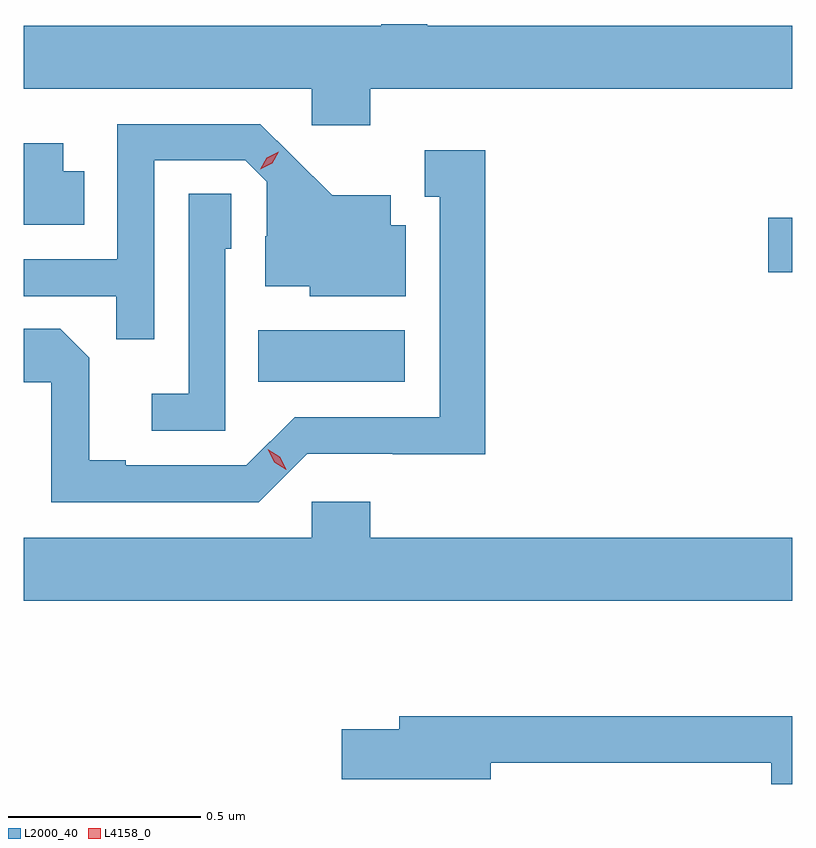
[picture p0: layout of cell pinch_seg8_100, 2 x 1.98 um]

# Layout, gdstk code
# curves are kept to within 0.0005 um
import gdstk
lib = gdstk.Library(unit=1e-6, precision=1e-09)
def R(c, l, rs):  # rectangles x0, y0, x1, y1
    for r in rs: c.add(gdstk.rectangle(r[:2], r[2:], *l))
def P(c, l, *ps):  # polygons
    for p in ps: c.add(gdstk.Polygon(p, *l))
L2000_40 = (2000, 40)
L4158_0 = (4158, 0)

pinch_seg8_100 = lib.new_cell('pinch_seg8_100')
R(pinch_seg8_100, L2000_40, [(1044.46,1102.418,1044.841,1102.552), (1045.788,1102.703,1045.85,1102.845)])
P(pinch_seg8_100, L2000_40, [(1044.752,1103.18),(1045.85,1103.18),(1045.85,1103.344),(1044.9,1103.344),(1044.9,1103.349),(1044.781,1103.349),(1044.781,1103.344),(1043.85,1103.344),(1043.85,1103.18),(1044.6,1103.18),(1044.6,1103.085),(1044.752,1103.085)],
  [(1044.189,1102.995),(1044.426,1102.995),(1044.483,1102.938),(1044.483,1102.796),(1044.479,1102.796),(1044.479,1102.667),(1044.594,1102.667),(1044.594,1102.64),(1044.844,1102.64),(1044.844,1102.825),(1044.805,1102.825),(1044.805,1102.903),(1044.653,1102.903),(1044.466,1103.088),(1044.093,1103.088),(1044.093,1102.737),(1043.85,1102.737),(1043.85,1102.641),(1044.091,1102.641),(1044.091,1102.528),(1044.189,1102.528)],
  [(1044.008,1102.966),(1043.953,1102.966),(1043.953,1103.038),(1043.85,1103.038),(1043.85,1102.826),(1044.008,1102.826)],
  [(1044.588,1102.23),(1044.81,1102.23),(1044.81,1102.229),(1045.051,1102.229),(1045.051,1103.02),(1044.893,1103.02),(1044.893,1102.899),(1044.932,1102.899),(1044.932,1102.326),(1044.555,1102.326),(1044.429,1102.2),(1044.115,1102.2),(1044.115,1102.213),(1044.021,1102.213),(1044.021,1102.48),(1043.945,1102.556),(1043.85,1102.556),(1043.85,1102.416),(1043.922,1102.416),(1043.922,1102.104),(1044.462,1102.104)],
  [(1044.375,1102.764),(1044.39,1102.764),(1044.39,1102.907),(1044.279,1102.907),(1044.279,1102.387),(1044.183,1102.387),(1044.183,1102.29),(1044.375,1102.29)],
  [(1045.85,1102.012),(1044.752,1102.012),(1044.752,1102.105),(1044.6,1102.105),(1044.6,1102.012),(1043.85,1102.012),(1043.85,1101.848),(1045.85,1101.848)],
  [(1045.85,1101.547),(1044.827,1101.547),(1044.827,1101.513),(1044.678,1101.513),(1044.678,1101.383),(1045.066,1101.383),(1045.066,1101.426),(1045.796,1101.426),(1045.796,1101.371),(1045.85,1101.371)])
P(pinch_seg8_100, L4158_0, [(1044.533,1102.189),(1044.502,1102.209),(1044.485,1102.242),(1044.485,1102.242),(1044.485,1102.242),(1044.516,1102.223),(1044.533,1102.19),(1044.533,1102.189)],
  [(1044.466,1102.971),(1044.466,1102.971),(1044.483,1103.001),(1044.514,1103.016),(1044.514,1103.016),(1044.514,1103.016),(1044.497,1102.986),(1044.466,1102.971)])

lib.write_gds('pinch_seg8_100.gds')
